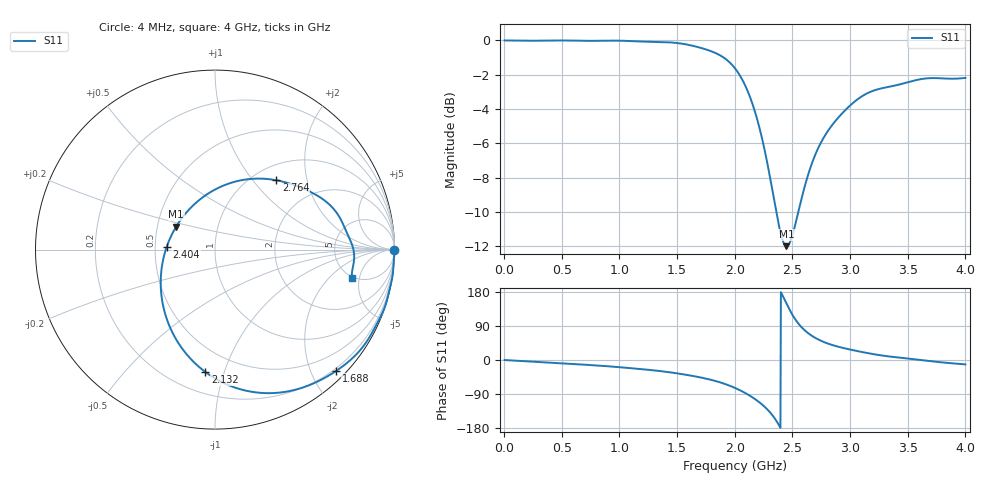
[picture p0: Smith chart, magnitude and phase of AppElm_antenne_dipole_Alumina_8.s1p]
! TOUCHSTONE file generated by CST MICROWAVE STUDIO
! Date and time: Sat May 14 11:21:42 2022
! Project name: AppElm_antenne_dipole_Alumina.cst
! Parameters = {L=33; e=0.035; f=2.45e+09; h=1.6; i=0.8; l1=2; lambda=122.449; ls=30; wl=1.7; ws=88}
! Header version: 2018
! Port assignment regex: !\s*Touchstone port\s*([0-9]+)\s*=\s*(CST MWS port|CST DS port)\s*([0-9]+|Zmin|Zmax)\s*\(\"(.*)\"\)(\s*mode\s*([0-9]+))?.*
! Touchstone port assignment:
! Touchstone port 1 = CST MWS port 1 ("")
# GHz S MA R 50
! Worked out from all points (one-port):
!   1000 points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, 4 MHz to 4 GHz, reference 50 ohm
!   lowest |S11| = -12.0 dB at 2.448 GHz (marker M1), VSWR 1.67, Z = 31.3 + j8.51 ohm
!   |S11| at or under -10 dB: 2.36 GHz to 2.551 GHz (191 MHz wide, 7.78 % of centre)
!   S11 on the Smith chart (normalised r, x): 4 MHz: open; 1.688 GHz: 0.16, -2.40; 2.132 GHz: 0.34, -0.87; 2.404 GHz: 0.58, +0.02; 2.764 GHz: 1.26, +1.33; 4 GHz: 4.86, -3.85
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0.004  1 -0.1
0.504  0.9999 -8.7
1.004  0.9983 -19.1
1.316  0.9902 -27.9
1.504  0.9825 -35.4
1.688  0.9549 -45.1
1.776  0.9352 -50.9
1.856  0.9112 -57.5
1.936  0.8748 -65.6
2.004  0.8276 -74.0
2.068  0.7654 -83.4
2.132  0.6844 -94.5
2.208  0.5666 -110.3
2.276  0.4497 -128.4
2.34  0.3446 -151.3
2.404  0.2692 176.5
2.448  0.2514 149.5
2.504  0.2734 117.2
2.56  0.3255 93.0
2.62  0.3894 74.8
2.684  0.452 60.9
2.764  0.5159 48.5
2.868  0.5798 37.5
3.004  0.648 27.3
3.204  0.7142 15.4
3.504  0.7559 3.8
3.68  0.7761 -2.5
4  0.7777 -11.6
